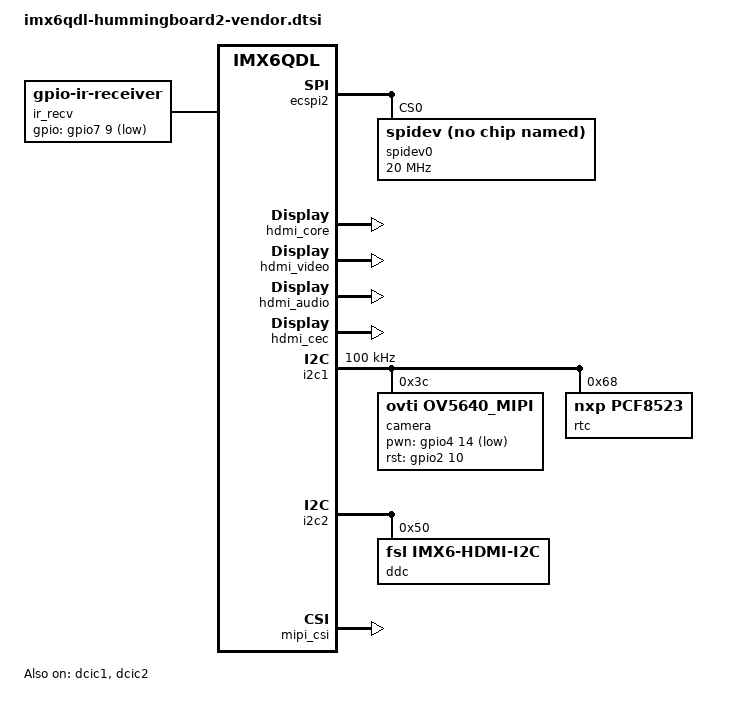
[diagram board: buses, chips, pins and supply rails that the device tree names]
/*
 * Device Tree file for SolidRun HummingBoard2
 * Copyright (C) 2015 Rabeeh Khoury <rabeeh@solid-run.com>
 *
 * This file is dual-licensed: you can use it either under the terms
 * of the GPL or the X11 license, at your option. Note that this dual
 * licensing only applies to this file, and not this project as a
 * whole.
 *
 *  a) This file is free software; you can redistribute it and/or
 *     modify it under the terms of the GNU General Public License as
 *     published by the Free Software Foundation; either version 2 of the
 *     License.
 *
 *     This file is distributed in the hope that it will be useful
 *     but WITHOUT ANY WARRANTY; without even the implied warranty of
 *     MERCHANTABILITY or FITNESS FOR A PARTICULAR PURPOSE.  See the
 *     GNU General Public License for more details.
 *
 * Or, alternatively
 *
 *  b) Permission is hereby granted, free of charge, to any person
 *     obtaining a copy of this software and associated documentation
 *     files (the "Software"), to deal in the Software without
 *     restriction, including without limitation the rights to use
 *     copy, modify, merge, publish, distribute, sublicense, and/or
 *     sell copies of the Software, and to permit persons to whom the
 *     Software is furnished to do so, subject to the following
 *     conditions:
 *
 *     The above copyright notice and this permission notice shall be
 *     included in all copies or substantial portions of the Software.
 *
 *     THE SOFTWARE IS PROVIDED , WITHOUT WARRANTY OF ANY KIND
 *     EXPRESS OR IMPLIED, INCLUDING BUT NOT LIMITED TO THE WARRANTIES
 *     OF MERCHANTABILITY, FITNESS FOR A PARTICULAR PURPOSE AND
 *     NONINFRINGEMENT. IN NO EVENT SHALL THE AUTHORS OR COPYRIGHT
 *     HOLDERS BE LIABLE FOR ANY CLAIM, DAMAGES OR OTHER LIABILITY
 *     WHETHER IN AN ACTION OF CONTRACT, TORT OR OTHERWISE, ARISING
 *     FROM, OUT OF OR IN CONNECTION WITH THE SOFTWARE OR THE USE OR
 *     OTHER DEALINGS IN THE SOFTWARE.
 */

/ {
	aliases {
		mmc0 = &usdhc2;
		mmc1 = &usdhc1;
		mxcfb0 = &mxcfb1;
		mxcfb2 = &mxcfb2;
	};

	chosen {
		bootargs = "quiet console=ttymxc0,115200 root=/dev/mmcblk0p2 rw";
		stdout-path = &uart1;
	};

	ir_recv: ir-receiver {
		compatible = "gpio-ir-receiver";
		gpios = <&gpio7 9 1>;
		pinctrl-names = "default";
		pinctrl-0 = <&pinctrl_hummingboard2_gpio7_9>;
		linux,rc-map-name = "rc-rc6-mce";
	};

	mxcfb1: fb@0 {
		compatible = "fsl,mxc_sdc_fb";
		disp_dev = "hdmi";
		interface_pix_fmt = "RGB24";
		mode_str ="1920x1080M@60";
		default_bpp = <32>;
		int_clk = <0>;
		late_init = <0>;
		status = "okay";
	};

	mxcfb2: fb@1 {
		compatible = "fsl,mxc_sdc_fb";
		disp_dev = "ldb";
		interface_pix_fmt = "RGB666";
		default_bpp = <16>;
		int_clk = <0>;
		late_init = <0>;
		status = "disabled";
	};

	sound-hdmi {
		compatible = "fsl,imx6q-audio-hdmi",
			     "fsl,imx-audio-hdmi";
		model = "imx-audio-hdmi";
		hdmi-controller = <&hdmi_audio>;
	};

	v4l2_cap_0 {
		compatible = "fsl,imx6q-v4l2-capture";
		ipu_id = <0>;
		csi_id = <1>;
		mclk_source = <0>;
		mipi_camera = <1>;
		default_input = <0>;
		status = "okay";
	};

	v4l2_out {
		compatible = "fsl,mxc_v4l2_output";
		status = "okay";
	};
};

&dcic1 {
	dcic_id = <0>;
	dcic_mux = "dcic-hdmi";
	status = "okay";
};

&dcic2 {
	dcic_id = <1>;
	dcic_mux = "dcic-lvds1";
	status = "okay";
};

&ecspi2 {
	fsl,spi-num-chipselects = <1>;

	spidev0: spi@0 {
		compatible = "spidev";
		reg = <0>;
		spi-max-frequency = <20000000>;
	};
};

&gpc {
	fsl,cpu_pupscr_sw2iso = <0xf>;
	fsl,cpu_pupscr_sw = <0xf>;
	fsl,cpu_pdnscr_iso2sw = <0x1>;
	fsl,cpu_pdnscr_iso = <0x1>;
};

&can1 {
	pinctrl-names = "default";
	pinctrl-0 = <&pinctrl_hummingboard_flexcan1>;
	status = "disabled";
};

&hdmi {
	status = "disabled";
};

&hdmi_core {
	ipu_id = <0>;
	disp_id = <0>;
	status = "okay";
};

&hdmi_video {
	fsl,phy_reg_vlev = <0x0294>;
	fsl,phy_reg_cksymtx = <0x800d>;
	status = "okay";
};

&hdmi_audio {
	status = "okay";
};

&hdmi_cec {
	pinctrl-names = "default";
	pinctrl-0 = <&pinctrl_hummingboard2_hdmi>;
	status = "okay";
};

&i2c1 {
	clock-frequency = <100000>;
	pinctrl-names = "default";
	pinctrl-0 = <&pinctrl_hummingboard2_i2c1>;
	status = "okay";

	camera@3c {
		compatible = "ovti,ov5640_mipi";
		reg = <0x3c>;
                clocks = <&clks IMX6QDL_CLK_CKO2>;
                clock-names = "csi_mclk";
                pwn-gpios = <&gpio4 14 GPIO_ACTIVE_LOW>;
                rst-gpios = <&gpio2 10 GPIO_ACTIVE_HIGH>;
                ipu_id = <0>;
                csi_id = <1>;
                mclk = <24000000>;
                mclk_source = <0>;
                pinctrl-names = "default";
                pinctrl-0 = <&pinctrl_hummingboard2_mipi>;
                extended-buffer;
        };

	rtc@68 {
		compatible = "nxp,pcf8523";
		reg = <0x68>;
		nxp,12p5_pf;
	};
};

&i2c2 {
	ddc@50 {
		compatible = "fsl,imx6-hdmi-i2c";
		reg = <0x50>;
	};
};

&iomuxc {
	pinctrl-names = "default";
	pinctrl-0 = <&pinctrl_hog>;
	hummingboard2 {
		pinctrl_hog: hoggrp {
		fsl,pins = <
				/*
				 * 36 pin headers GPIO description. The pins
				 * numbering as following -
				 *
				 * 	3.2v	5v	74	75
				 *	73	72	71	70
				 *	69	68	67	66
				 *
				 *	77	78	79	76
				 *	65	64	61	60
				 *	53	52	51	50
				 *	49	48	166	132
				 *	95	94	90	91
				 *	GND	54	24	204
				 *
				 * The GPIO numbers can be extracted using
				 * signal name from below.
				 * Example -
				 * MX6QDL_PAD_EIM_DA10__GPIO3_IO10 is
				 * GPIO(3,10) which is (3-1)*32+10 = gpio 74
				 *
				 * i.e. The mapping of GPIO(X,Y) to Linux gpio
				 * number is : gpio number = (X-1) * 32 + Y
				 */
				/* DI1_PIN15 */
				MX6QDL_PAD_EIM_DA10__GPIO3_IO10 0x400130b1
				/* DI1_PIN02 */
				MX6QDL_PAD_EIM_DA11__GPIO3_IO11 0x400130b1
				/* DISP1_DATA00 */
				MX6QDL_PAD_EIM_DA9__GPIO3_IO09 0x400130b1
				/* DISP1_DATA01 */
				MX6QDL_PAD_EIM_DA8__GPIO3_IO08 0x400130b1
				/* DISP1_DATA02 */
				MX6QDL_PAD_EIM_DA7__GPIO3_IO07 0x400130b1
				/* DISP1_DATA03 */
				MX6QDL_PAD_EIM_DA6__GPIO3_IO06 0x400130b1
				/* DISP1_DATA04 */
				MX6QDL_PAD_EIM_DA5__GPIO3_IO05 0x400130b1
				/* DISP1_DATA05 */
				MX6QDL_PAD_EIM_DA4__GPIO3_IO04 0x400130b1
				/* DISP1_DATA06 */
				MX6QDL_PAD_EIM_DA3__GPIO3_IO03 0x400130b1
				/* DISP1_DATA07 */
				MX6QDL_PAD_EIM_DA2__GPIO3_IO02 0x400130b1
				/* DI1_D0_CS */
				MX6QDL_PAD_EIM_DA13__GPIO3_IO13 0x400130b1
				/* DI1_D1_CS */
				MX6QDL_PAD_EIM_DA14__GPIO3_IO14 0x400130b1
				/* DI1_PIN01 */
				MX6QDL_PAD_EIM_DA15__GPIO3_IO15 0x400130b1
				/* DI1_PIN03 */
				MX6QDL_PAD_EIM_DA12__GPIO3_IO12 0x400130b1
				/* DISP1_DATA08 */
				MX6QDL_PAD_EIM_DA1__GPIO3_IO01 0x400130b1
				/* DISP1_DATA09 */
				MX6QDL_PAD_EIM_DA0__GPIO3_IO00 0x400130b1
				/* DISP1_DATA10 */
				MX6QDL_PAD_EIM_EB1__GPIO2_IO29 0x400130b1
				/* DISP1_DATA11 */
				MX6QDL_PAD_EIM_EB0__GPIO2_IO28 0x400130b1
				/* DISP1_DATA12 */
				MX6QDL_PAD_EIM_A17__GPIO2_IO21 0x400130b1
				/* DISP1_DATA13 */
				MX6QDL_PAD_EIM_A18__GPIO2_IO20 0x400130b1
				/* DISP1_DATA14 */
				MX6QDL_PAD_EIM_A19__GPIO2_IO19 0x400130b1
				/* DISP1_DATA15 */
				MX6QDL_PAD_EIM_A20__GPIO2_IO18 0x400130b1
				/* DISP1_DATA16 */
				MX6QDL_PAD_EIM_A21__GPIO2_IO17 0x400130b1
				/* DISP1_DATA17 */
				MX6QDL_PAD_EIM_A22__GPIO2_IO16 0x400130b1
				/* DISP1_DATA18 */
				MX6QDL_PAD_EIM_A23__GPIO6_IO06 0x400130b1
				/* DISP1_DATA19 */
				MX6QDL_PAD_EIM_A24__GPIO5_IO04 0x400130b1
				/* DISP1_DATA20 */
				MX6QDL_PAD_EIM_D31__GPIO3_IO31 0x400130b1
				/* DISP1_DATA21 */
				MX6QDL_PAD_EIM_D30__GPIO3_IO30 0x400130b1
				/* DISP1_DATA22 */
				MX6QDL_PAD_EIM_D26__GPIO3_IO26 0x400130b1
				/* DISP1_DATA23 */
				MX6QDL_PAD_EIM_D27__GPIO3_IO27 0x400130b1
				/* DI1_DISP_CLK */
				MX6QDL_PAD_EIM_A16__GPIO2_IO22 0x400130b1
				/* SPDIF_IN */
				MX6QDL_PAD_ENET_RX_ER__GPIO1_IO24 0x400130b1
				/* SPDIF_OUT */
				MX6QDL_PAD_GPIO_17__GPIO7_IO12 0x400130b1

				/* MikroBUS GPIO pin number 10 */
				MX6QDL_PAD_EIM_LBA__GPIO2_IO27 0x400130b1
			>;
		};

		pinctrl_hummingboard_flexcan1: hummingboard-flexcan1 {
		fsl,pins = <
				MX6QDL_PAD_KEY_ROW2__FLEXCAN1_RX 0x1b0b1
				MX6QDL_PAD_KEY_COL2__FLEXCAN1_TX 0x1b0b1
			>;
		};
	};
};

&ldb {
	status = "disabled";

	lvds@0 {
		fsl,data-mapping = "spwg";
		fsl,data-width = <18>;
		crtc = "ipu2-di0";
		primary;

		display-timings {
			native-mode = <&timing0>;
			timing0: hsd100pxn1 {
				clock-frequency = <65000000>;
				hactive = <1024>;
				vactive = <768>;
				hback-porch = <220>;
				hfront-porch = <40>;
				vback-porch = <21>;
				vfront-porch = <7>;
				hsync-len = <60>;
				vsync-len = <10>;
			};
		};
	};
};

&mipi_csi {
	ipu_id = <0>;
	csi_id = <1>;
	v_channel = <0>;
	lanes = <2>;
	mipi_dphy_clk = <0x14>;
	status = "okay";
};

&pwm3 {
	status = "disabled";
};

&pwm4 {
	status = "disabled";
};

&ssi1 {
	fsl,mode = "i2s-slave";
};
